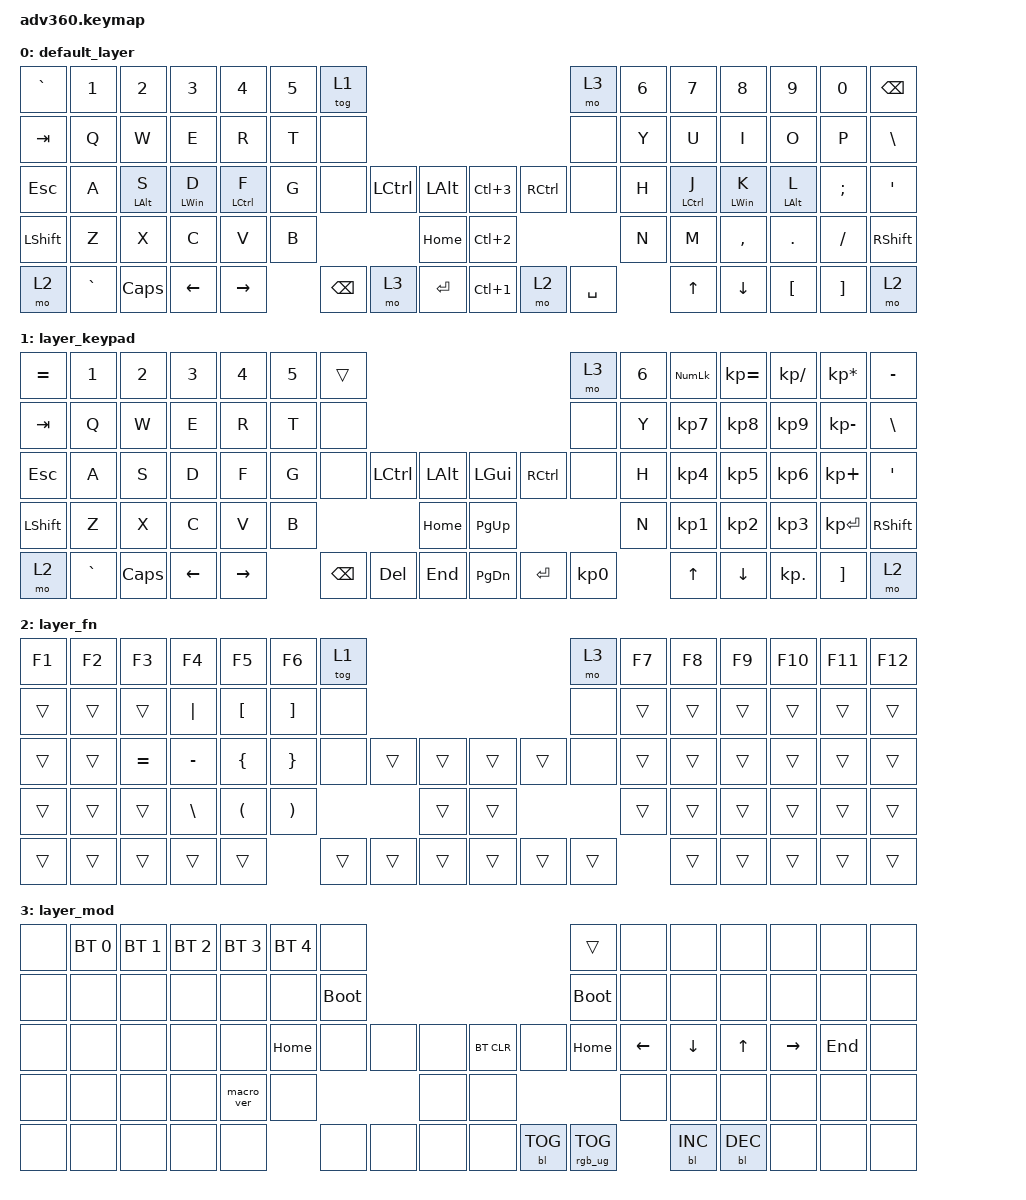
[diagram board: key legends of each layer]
/*
 * Copyright (c) 2020 The ZMK Contributors
 *
 * SPDX-License-Identifier: MIT
 */
/* THIS FILE WAS GENERATED!
 *
 * This file was generated automatically. You may or may not want to
 * edit it directly.
 */

#include <behaviors.dtsi>
#include <dt-bindings/zmk/backlight.h>
#include <dt-bindings/zmk/bt.h>
#include <dt-bindings/zmk/keys.h>
#include <dt-bindings/zmk/rgb.h>

/ {
    behaviors {
        #include "macros.dtsi"
    #include "version.dtsi"

        hm: homerow_mods {
            compatible = "zmk,behavior-hold-tap";
            label = "HOMEROW_MODS";
            #binding-cells = <2>;
            tapping-term-ms = <200>;
            quick_tap_ms = <175>;
            flavor = "tap-preferred";
            bindings = <&kp>, <&kp>;
        };
    };

    macros {
        new_macro: new_macro {
            compatible = "zmk,behavior-macro";
            #binding-cells = <0>;
            bindings = <&none &kp LS(T) &kp Y &kp P &kp E &kp SPACE &kp S &kp O &kp M &kp E &kp T &kp H &kp I &kp N &kp G &kp DOT &kp DOT &kp DOT>;
            label = "NEW_MACRO";
        };
    };

    keymap {
        compatible = "zmk,keymap";

        default_layer {
            bindings = <
&kp GRAVE  &kp N1     &kp N2          &kp N3          &kp N4       &kp N5  &tog 1                                                           &mo 3      &kp N6  &kp N7       &kp N8          &kp N9          &kp N0    &kp BACKSPACE
&kp TAB    &kp Q      &kp W           &kp E           &kp R        &kp T   &none                                                            &none      &kp Y   &kp U        &kp I           &kp O           &kp P     &kp BSLH
&kp ESC    &kp A      &hm LEFT_ALT S  &hm LEFT_WIN D  &hm LCTRL F  &kp G   &none     &kp LCTRL  &kp LALT       &kp LC(NUMBER_3)  &kp RCTRL  &none      &kp H   &hm LCTRL J  &hm LEFT_WIN K  &hm LEFT_ALT L  &kp SEMI  &kp SQT
&kp LSHFT  &kp Z      &kp X           &kp C           &kp V        &kp B                        &kp HOME       &kp LC(NUMBER_2)                        &kp N   &kp M        &kp COMMA       &kp DOT         &kp FSLH  &kp RSHFT
&mo 2      &kp GRAVE  &kp CAPS        &kp LEFT        &kp RIGHT            &kp BSPC  &mo 3      &kp ENTER      &kp LC(NUMBER_1)  &mo 2      &kp SPACE          &kp UP       &kp DOWN        &kp LBKT        &kp RBKT  &mo 2
            >;
        };

        layer_keypad {
            bindings = <
&kp EQUAL  &kp N1     &kp N2    &kp N3    &kp N4     &kp N5  &trans                                                   &mo 3      &kp N6  &kp KP_NUM  &kp KP_EQUAL  &kp KP_DIVIDE  &kp KP_MULTIPLY  &kp MINUS
&kp TAB    &kp Q      &kp W     &kp E     &kp R      &kp T   &none                                                    &none      &kp Y   &kp KP_N7   &kp KP_N8     &kp KP_N9      &kp KP_MINUS     &kp BSLH
&kp ESC    &kp A      &kp S     &kp D     &kp F      &kp G   &none     &kp LCTRL  &kp LALT      &kp LGUI   &kp RCTRL  &none      &kp H   &kp KP_N4   &kp KP_N5     &kp KP_N6      &kp KP_PLUS      &kp SQT
&kp LSHFT  &kp Z      &kp X     &kp C     &kp V      &kp B                        &kp HOME      &kp PG_UP                        &kp N   &kp KP_N1   &kp KP_N2     &kp KP_N3      &kp KP_ENTER     &kp RSHFT
&mo 2      &kp GRAVE  &kp CAPS  &kp LEFT  &kp RIGHT          &kp BSPC  &kp DEL    &kp END       &kp PG_DN  &kp ENTER  &kp KP_N0          &kp UP      &kp DOWN      &kp KP_DOT     &kp RBKT         &mo 2
            >;
        };

        layer_fn {
            bindings = <
&kp F1  &kp F2  &kp F3     &kp F4         &kp F5                &kp F6                 &tog 1                                      &mo 3   &kp F7  &kp F8  &kp F9  &kp F10  &kp F11  &kp F12
&trans  &trans  &trans     &kp PIPE       &kp LEFT_BRACKET      &kp RIGHT_BRACKET      &none                                       &none   &trans  &trans  &trans  &trans   &trans   &trans
&trans  &trans  &kp EQUAL  &kp MINUS      &kp LEFT_BRACE        &kp RIGHT_BRACE        &none   &trans  &trans      &trans  &trans  &none   &trans  &trans  &trans  &trans   &trans   &trans
&trans  &trans  &trans     &kp BACKSLASH  &kp LEFT_PARENTHESIS  &kp RIGHT_PARENTHESIS                  &trans      &trans                  &trans  &trans  &trans  &trans   &trans   &trans
&trans  &trans  &trans     &trans         &trans                                       &trans  &trans  &trans      &trans  &trans  &trans          &trans  &trans  &trans   &trans   &trans
            >;
        };

        layer_mod {
            bindings = <
&none  &bt BT_SEL 0  &bt BT_SEL 1  &bt BT_SEL 2  &bt BT_SEL 3  &bt BT_SEL 4  &none                                                  &trans           &none           &none           &none         &none            &none    &none
&none  &none         &none         &none         &none         &none         &bootloader                                            &bootloader      &none           &none           &none         &none            &none    &none
&none  &none         &none         &none         &none         &kp HOME      &none        &none  &none      &bt BT_CLR  &none       &kp HOME         &kp LEFT_ARROW  &kp DOWN_ARROW  &kp UP_ARROW  &kp RIGHT_ARROW  &kp END  &none
&none  &none         &none         &none         &macro_ver    &none                             &none      &none                                    &none           &none           &none         &none            &none    &none
&none  &none         &none         &none         &none                       &none        &none  &none      &none       &bl BL_TOG  &rgb_ug RGB_TOG                  &bl BL_INC      &bl BL_DEC    &none            &none    &none
            >;
        };
    };
};
